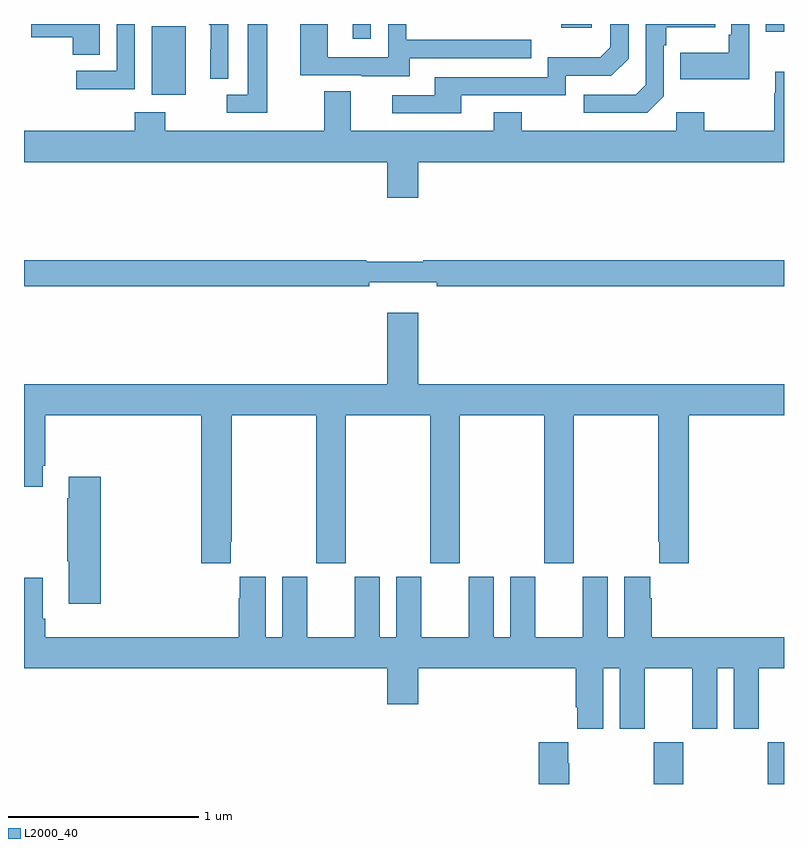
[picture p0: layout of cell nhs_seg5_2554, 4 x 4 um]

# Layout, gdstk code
import gdstk
lib = gdstk.Library(unit=1e-6, precision=1e-09)
def R(c, l, rs):  # rectangles x0, y0, x1, y1
    for r in rs: c.add(gdstk.rectangle(r[:2], r[2:], *l))
def P(c, l, *ps):  # polygons
    for p in ps: c.add(gdstk.Polygon(p, *l))
L2000_40 = (2000, 40)

nhs_seg5_2554 = lib.new_cell('nhs_seg5_2554')
R(nhs_seg5_2554, L2000_40, [(262.315,874.799,262.47,875.02), (262.915,874.799,263,875.02), (259.673,878.426,259.852,878.787), (260.729,878.721,260.826,878.799), (262.905,878.759,263,878.799), (261.827,878.78,261.988,878.799)])
P(nhs_seg5_2554, L2000_40, [(260.281,878.799),(260.177,878.799),(260.177,878.427),(260.067,878.427),(260.067,878.331),(260.281,878.331)],
  [(262.368,878.418),(262.368,878.687),(262.381,878.687),(262.381,878.783),(262.637,878.783),(262.637,878.799),(262.272,878.799),(262.272,878.478),(262.221,878.427),(261.945,878.427),(261.945,878.331),(262.281,878.331)],
  [(261.301,878.424),(261.852,878.424),(261.852,878.526),(262.092,878.526),(262.182,878.616),(262.182,878.799),(262.086,878.799),(262.086,878.676),(262.033,878.623),(261.756,878.623),(261.756,878.52),(261.161,878.52),(261.161,878.424),(260.937,878.424),(260.937,878.328),(261.301,878.328)],
  [(262.818,878.799),(262.722,878.799),(262.722,878.743),(262.71,878.743),(262.71,878.647),(262.453,878.647),(262.453,878.507),(262.818,878.507)],
  [(261.031,878.619),(261.671,878.619),(261.671,878.715),(261.012,878.715),(261.012,878.799),(260.916,878.799),(260.916,878.625),(260.598,878.625),(260.598,878.799),(260.453,878.799),(260.453,878.529),(260.777,878.529),(260.777,878.525),(261.031,878.525)],
  [(259.399,878.799),(259.038,878.799),(259.038,878.729),(259.256,878.729),(259.256,878.638),(259.399,878.638)],
  [(259.584,878.799),(259.488,878.799),(259.488,878.553),(259.275,878.553),(259.275,878.455),(259.584,878.455)],
  [(260.076,878.799),(259.972,878.799),(259.982,878.789),(259.982,878.666),(259.98,878.666),(259.98,878.512),(260.076,878.512)],
  [(261.076,878.072),(263,878.072),(263,878.548),(262.955,878.548),(262.955,878.435),(262.948,878.435),(262.948,878.236),(262.581,878.236),(262.581,878.335),(262.434,878.335),(262.434,878.236),(261.621,878.236),(261.621,878.335),(261.473,878.335),(261.473,878.236),(260.719,878.236),(260.719,878.444),(260.579,878.444),(260.579,878.236),(259.743,878.236),(259.743,878.335),(259.583,878.335),(259.583,878.236),(259,878.236),(259,878.072),(260.912,878.072),(260.912,877.884),(261.076,877.884)],
  [(260.816,877.439),(261.172,877.439),(261.172,877.42),(263,877.42),(263,877.556),(261.1,877.556),(261.1,877.549),(260.8,877.549),(260.8,877.556),(259,877.556),(259,877.42),(260.816,877.42)],
  [(260.089,876.073),(260.094,876.073),(260.094,876.74),(260.539,876.74),(260.539,875.961),(260.694,875.961),(260.694,876.74),(261.139,876.74),(261.139,875.961),(261.294,875.961),(261.294,876.74),(261.739,876.74),(261.739,875.961),(261.894,875.961),(261.894,876.74),(262.339,876.74),(262.339,876.073),(262.343,876.073),(262.343,875.961),(262.499,875.961),(262.499,876.74),(263,876.74),(263,876.904),(261.076,876.904),(261.076,877.279),(260.912,877.279),(260.912,876.904),(259,876.904),(259,876.363),(259.099,876.363),(259.099,876.475),(259.112,876.475),(259.112,876.74),(259.934,876.74),(259.934,875.961),(260.089,875.961)],
  [(259.403,876.415),(259.235,876.415),(259.235,876.302),(259.228,876.302),(259.228,875.971),(259.235,875.971),(259.235,875.748),(259.403,875.748)],
  [(262.048,875.408),(262.136,875.408),(262.136,875.091),(262.267,875.091),(262.267,875.408),(262.517,875.408),(262.517,875.091),(262.648,875.091),(262.648,875.408),(262.736,875.408),(262.736,875.091),(262.867,875.091),(262.867,875.408),(263,875.408),(263,875.572),(262.304,875.572),(262.304,875.777),(262.297,875.777),(262.297,875.89),(262.16,875.89),(262.16,875.572),(262.072,875.572),(262.072,875.89),(261.941,875.89),(261.941,875.572),(261.691,875.572),(261.691,875.89),(261.56,875.89),(261.56,875.572),(261.472,875.572),(261.472,875.89),(261.341,875.89),(261.341,875.572),(261.091,875.572),(261.091,875.89),(260.96,875.89),(260.96,875.572),(260.872,875.572),(260.872,875.89),(260.741,875.89),(260.741,875.572),(260.491,875.572),(260.491,875.89),(260.36,875.89),(260.36,875.572),(260.272,875.572),(260.272,875.89),(260.135,875.89),(260.135,875.777),(260.129,875.777),(260.129,875.572),(259.112,875.572),(259.112,875.668),(259.099,875.668),(259.099,875.884),(259,875.884),(259,875.408),(260.912,875.408),(260.912,875.22),(261.076,875.22),(261.076,875.408),(261.904,875.408),(261.904,875.203),(261.911,875.203),(261.911,875.091),(262.048,875.091)],
  [(261.87,874.907),(261.865,874.907),(261.865,875.02),(261.71,875.02),(261.71,874.799),(261.87,874.799)])

lib.write_gds('nhs_seg5_2554.gds')
